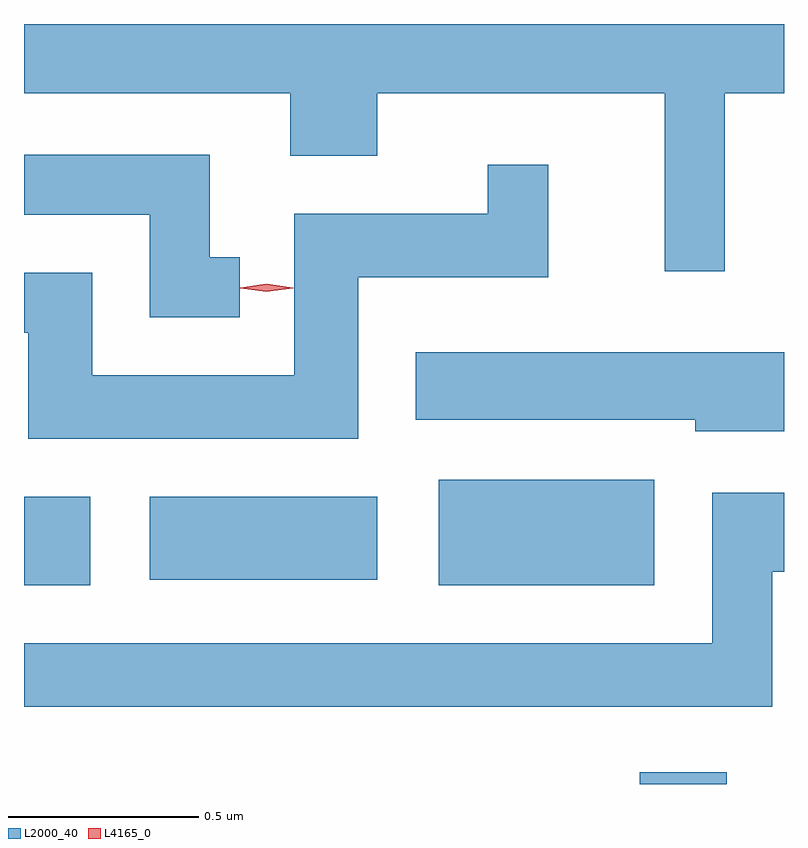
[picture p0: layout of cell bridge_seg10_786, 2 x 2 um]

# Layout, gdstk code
import gdstk
lib = gdstk.Library(unit=1e-6, precision=1e-09)
def R(c, l, rs):  # rectangles x0, y0, x1, y1
    for r in rs: c.add(gdstk.rectangle(r[:2], r[2:], *l))
def P(c, l, *ps):  # polygons
    for p in ps: c.add(gdstk.Polygon(p, *l))
L2000_40 = (2000, 40)
L4165_0 = (4165, 0)

bridge_seg10_786 = lib.new_cell('bridge_seg10_786')
R(bridge_seg10_786, L2000_40, [(590.301,2192.018,590.529,2192.049), (588.68,2192.541,588.854,2192.774), (589.771,2192.541,590.339,2192.819), (589.011,2192.556,589.609,2192.774)])
P(bridge_seg10_786, L2000_40, [(590.524,2193.836),(590.68,2193.836),(590.68,2194.018),(588.68,2194.018),(588.68,2193.836),(589.381,2193.836),(589.381,2193.671),(589.609,2193.671),(589.609,2193.836),(590.366,2193.836),(590.366,2193.368),(590.524,2193.368)],
  [(589.248,2193.404),(589.169,2193.404),(589.169,2193.674),(588.68,2193.674),(588.68,2193.516),(589.011,2193.516),(589.011,2193.246),(589.248,2193.246)],
  [(589.559,2193.351),(590.059,2193.351),(590.059,2193.648),(589.901,2193.648),(589.901,2193.519),(589.391,2193.519),(589.391,2193.094),(588.859,2193.094),(588.859,2193.364),(588.68,2193.364),(588.68,2193.206),(588.691,2193.206),(588.691,2192.926),(589.559,2192.926)],
  [(590.68,2193.154),(589.711,2193.154),(589.711,2192.976),(590.446,2192.976),(590.446,2192.946),(590.68,2192.946)],
  [(590.649,2192.576),(590.68,2192.576),(590.68,2192.784),(590.491,2192.784),(590.491,2192.389),(588.68,2192.389),(588.68,2192.221),(590.649,2192.221)])
P(bridge_seg10_786, L4165_0, [(589.318,2193.314),(589.249,2193.323),(589.249,2193.324),(589.249,2193.324),(589.318,2193.334),(589.388,2193.324),(589.388,2193.324),(589.388,2193.323)])

lib.write_gds('bridge_seg10_786.gds')
